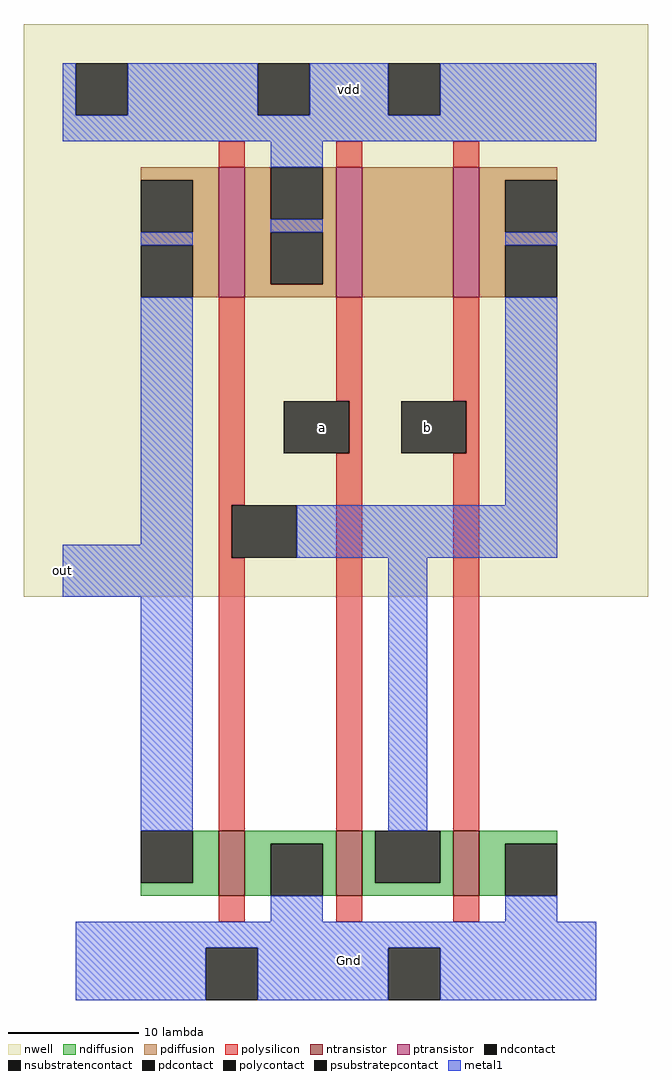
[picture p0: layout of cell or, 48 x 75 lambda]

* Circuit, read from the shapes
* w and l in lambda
.subckt or Gnd a b out vdd
M1 Gnd n1 out Gnd nfet w=5 l=2
M2 n1 a Gnd Gnd nfet w=5 l=2
M3 Gnd b n1 Gnd nfet w=5 l=2
M4 vdd n1 out vdd pfet w=10 l=2
M5 n2 a vdd vdd pfet w=10 l=2
M6 n1 b n2 vdd pfet w=10 l=2
.ends

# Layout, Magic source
magic
tech min2
<< nwell >>
rect -23 24 25 68
<< ntransistor >>
rect -8 1 -6 6
rect 1 1 3 6
rect 10 1 12 6
<< ptransistor >>
rect -8 47 -6 57
rect 1 47 3 57
rect 10 47 12 57
<< ndiffusion >>
rect -10 2 -8 6
rect -14 1 -8 2
rect -6 5 1 6
rect -6 1 -4 5
rect 0 1 1 5
rect 3 2 4 6
rect 9 2 10 6
rect 3 1 10 2
rect 12 5 18 6
rect 12 1 14 5
<< pdiffusion >>
rect -14 56 -8 57
rect -10 52 -8 56
rect -14 51 -8 52
rect -10 47 -8 51
rect -6 53 -4 57
rect 0 53 1 57
rect -6 52 1 53
rect -6 48 -4 52
rect 0 48 1 52
rect -6 47 1 48
rect 3 47 10 57
rect 12 56 18 57
rect 12 52 14 56
rect 12 51 18 52
rect 12 47 14 51
<< ndcontact >>
rect -14 2 -10 6
rect -4 1 0 5
rect 4 2 9 6
rect 14 1 18 5
<< pdcontact >>
rect -14 52 -10 56
rect -14 47 -10 51
rect -4 53 0 57
rect -4 48 0 52
rect 14 52 18 56
rect 14 47 18 51
<< psubstratepcontact >>
rect -9 -7 -5 -3
rect 5 -7 9 -3
<< nsubstratencontact >>
rect -19 61 -15 65
rect -5 61 -1 65
rect 5 61 9 65
<< polysilicon >>
rect -8 57 -6 59
rect 1 57 3 59
rect 10 57 12 59
rect -8 31 -6 47
rect 1 39 3 47
rect 10 39 12 47
rect 2 35 3 39
rect 11 35 12 39
rect -8 27 -7 31
rect -8 6 -6 27
rect 1 6 3 35
rect 10 6 12 35
rect -8 -1 -6 1
rect 1 -1 3 1
rect 10 -1 12 1
<< polycontact >>
rect -3 35 2 39
rect 6 35 11 39
rect -7 27 -2 31
<< metal1 >>
rect -20 61 -19 65
rect -15 61 -5 65
rect -1 61 5 65
rect 9 61 21 65
rect -20 59 21 61
rect -4 57 0 59
rect -14 51 -10 52
rect -4 52 0 53
rect 14 51 18 52
rect -14 28 -10 47
rect 14 31 18 47
rect -20 24 -10 28
rect -2 27 18 31
rect -14 6 -10 24
rect 5 6 8 27
rect -4 -1 0 1
rect 14 -1 18 1
rect -19 -3 21 -1
rect -19 -7 -9 -3
rect -5 -7 5 -3
rect 9 -7 21 -3
<< labels >>
rlabel metal1 2 -4 2 -4 1 Gnd
rlabel metal1 2 63 2 63 5 vdd
rlabel polycontact 8 37 8 37 1 b
rlabel polycontact 0 37 0 37 1 a
rlabel metal1 -20 24 -20 28 3 out
<< end >>
